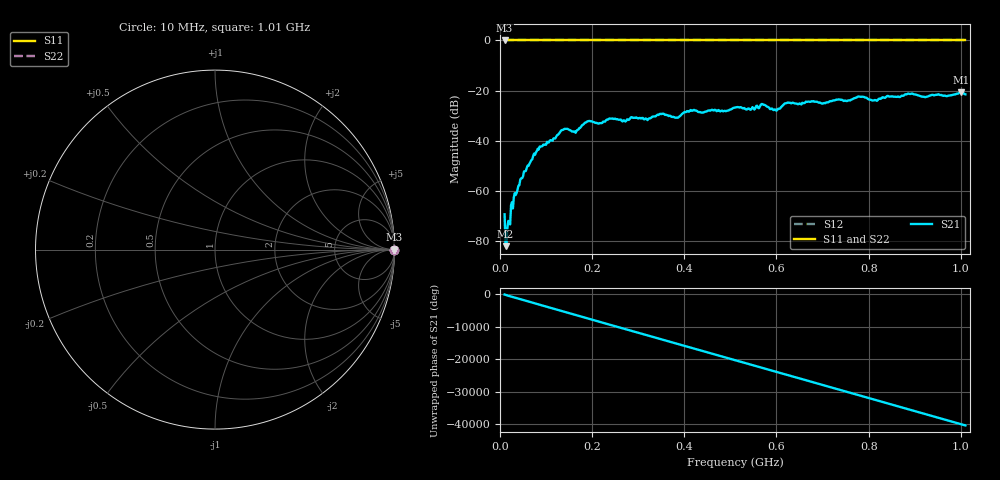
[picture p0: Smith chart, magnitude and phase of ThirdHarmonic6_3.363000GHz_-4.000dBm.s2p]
! 8/17/2025 10:38:42 AM
! C:\ANRITSUVNA\TEMP\TEMP.S2P
! CHANNEL.1
! TR.MEASUREMENT
! RAW.DATA
! RF.CORRECTION.OFF
! AVERAGING.OFF
! IF.BANDWIDTH: 5KHZ
! SWEEPTYPE:  FREQ.SWEEP(Linear)
! Reference Plane Port Info
! PORT:  PORT1  PORT2
! DISTANCE:  0  m  0  m
! TIME:  0  s  0  s
! PHASE.OFFSET:  0  deg.  0  deg.
! LOSS:  0  dB  0  dB
! REF.LOSS:  0  dB  0  dB
! REF.FREQ:  0  Hz  0  Hz
! Power Info
! POWER:  -20  dBm  -20  dBm
! EFF.POWER:  -20  dBm  -20  dBm
! SOURCE.ATTEN:  0  dB  0  dB
! TEST.ATTEN:  0  dB  0  dB
# GHZ S RI R 50.0
! FREQ.GHZ  S11RE  S11IM  S21RE  S21IM  S12RE  S12IM  S22RE  S22IM
!; PortSelection: Port_12
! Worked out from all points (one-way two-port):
!   501 points, 10 MHz to 1.01 GHz, reference 50 ohm
!   highest |S21| = -20.69 dB at 1 GHz (marker M1); lowest = -81.9 dB at 12 MHz (marker M2)
!   lowest |S11| = 0.0 dB at 10 MHz (marker M3)
!   |S11| at or under -10 dB: nowhere
!   |S22| runs from 0.0 to 0.0 dB; largest |S21 - S12| = 1.1
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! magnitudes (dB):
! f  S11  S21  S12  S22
! 10 MHz  0.0  -69.2  0.0  0.0
! 12 MHz  0.0  -81.9  0.0  0.0
! 16 MHz  0.0  -74.6  0.0  0.0
! 28 MHz  0.0  -66.9  0.0  0.0
! 44 MHz  0.0  -55.4  0.0  0.0
! 78 MHz  0.0  -44.6  0.0  0.0
! 136 MHz  0.0  -35.6  0.0  0.0
! 162 MHz  0.0  -36.2  0.0  0.0
! 178 MHz  0.0  -33.8  0.0  0.0
! 194 MHz  0.0  -32.0  0.0  0.0
! 318 MHz  0.0  -31.2  0.0  0.0
! 344 MHz  0.0  -29.7  0.0  0.0
! 384 MHz  0.0  -30.7  0.0  0.0
! 416 MHz  0.0  -27.9  0.0  0.0
! 510 MHz  0.0  -26.7  0.0  0.0
! 570 MHz  0.0  -25.4  0.0  0.0
! 598 MHz  0.0  -27.5  0.0  0.0
! 622 MHz  0.0  -24.9  0.0  0.0
! 678 MHz  0.0  -24.2  0.0  0.0
! 844 MHz  0.0  -22.3  0.0  0.0
! 1 GHz  0.0  -20.7  0.0  0.0
! 1.01 GHz  0.0  -21.5  0.0  0.0
